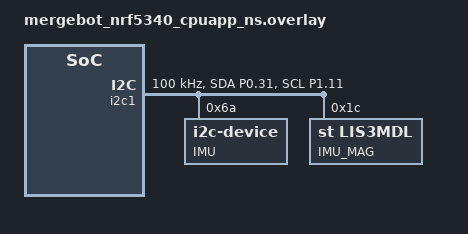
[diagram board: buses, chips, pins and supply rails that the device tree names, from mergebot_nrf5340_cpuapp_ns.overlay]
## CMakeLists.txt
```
cmake_minimum_required(VERSION 3.20.0)
find_package(Zephyr REQUIRED HINTS $ENV{ZEPHYR_BASE})

project(assignment_ses)

target_include_directories(app PRIVATE inc)
target_sources(app PRIVATE src/main.c src/robot.c src/robot/sensors/tap_detect.c 
    src/robot/sensors/lsm6dsox.c src/robot/power.c src/robot/sensors/lis3mdl.c 
    src/robot/calibration.c src/robot/settings.c src/robot/sensors/crash_detect.c src/robot/sensors/int1_gpio.c)
```

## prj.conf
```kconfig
# Enable serial driver
CONFIG_SERIAL=y

# Enable console drivers
CONFIG_CONSOLE=y
CONFIG_UART_CONSOLE=y

# Enable logging
CONFIG_LOG=y

# Enable run-time assertions
CONFIG_ASSERT=y

# Enable I2C
CONFIG_I2C=y
CONFIG_CBPRINTF_FP_SUPPORT=y
CONFIG_CBPRINTF_FULL_INTEGRAL=y

CONFIG_FLASH=y
CONFIG_FLASH_MAP=y
CONFIG_NVS=y
CONFIG_SETTINGS=y
CONFIG_SETTINGS_NVS=y
```

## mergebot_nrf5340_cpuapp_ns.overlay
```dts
// To get started, press Ctrl+Space to bring up the completion menu and view the available nodes.

// You can also use the buttons in the sidebar to perform actions on nodes.
// Actions currently available include:

// * Enabling / disabling the node
// * Adding the bus to a bus
// * Removing the node
// * Connecting ADC channels

// For more help, browse the DeviceTree documentation at https://docs.zephyrproject.org/latest/guides/dts/index.html
// You can also visit the nRF DeviceTree extension documentation at https://docs.nordicsemi.com/bundle/nrf-connect-vscode/page/guides/ncs_configure_app.html#devicetree-support-in-the-extension


&i2c1 {
    status = "okay";
    pinctrl-0 = <&i2c1_default>;
    pinctrl-names = "default";
    
    lsm6dsox: lsm6dsox@6a {
        compatible = "i2c-device";
        reg = <0x6a>;
        label = "IMU";
    };

    lis3mdl: lis3mdl@1c {
        compatible = "st,lis3mdl";
        reg = <0x1c>;
        label = "IMU_MAG";
    };
    
    clock-frequency = <I2C_BITRATE_STANDARD>;
};

&pinctrl {
    i2c1_default: i2c1_default {
        group1 {
            psels = <NRF_PSEL(TWIM_SDA, 0, 31)>,
                    <NRF_PSEL(TWIM_SCL, 1, 11)>;
            bias-pull-up;
        };
    };
};

&gpio0 {
    status = "okay";
};

/ {
    aliases {
        int1-pin = &int1_gpio_node;
        lis3mdl = &lis3mdl;
    };
    
    int1_gpio_node: int1-gpio-node {
        compatible = "user-keys";
        imu_int1_pin {
            gpios = <&gpio0 12 (GPIO_ACTIVE_HIGH | GPIO_PULL_DOWN)>;
            label = "IMU INT1 Pin";
        };
    };
};
```

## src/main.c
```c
#include <math.h>
#include <stdbool.h>
#include <mergebot.h>
#include <zephyr/kernel.h>
#include <zephyr/logging/log.h>
#include <zephyr/drivers/led.h>


#include "mb_power.h"
#include "robot.h"
#include "robot/calibration.h"
#include "robot/power.h"
#include "robot/sensors/lis3mdl.h"
#include "robot/sensors/lsm6dsox.h"
#include "robot/sensors/tap_detect.h"
#include "robot/sensors/crash_detect.h"
#include "ses_assignment.h"

static const struct device *pwm_leds_dev = DEVICE_DT_GET(DT_NODELABEL(pwm_leds_controller));

#define LED_IDX_RED 0
#define LED_IDX_GRN 1

LOG_MODULE_REGISTER(main, LOG_LEVEL_INF);
static K_SEM_DEFINE(tap_sem, 0, 1);

int init_hardware(void) {
    LOG_INF("Initializing hardware...");
    TRY_ERR(mb_error_t, mb_measure_init(0));
    TRY_ERR(mb_error_t, mb_drive_init(4));
    TRY_ERR(mb_error_t, mb_power_init());
    TRY_ERR(mb_error_t, mb_led_init());

    if (!device_is_ready(pwm_leds_dev)) {
        LOG_ERR("PWM LED controller not ready. Check DeviceTree overlay.");
        return -ENODEV;
    }

    LOG_INF("Hardware ready");
    return 0;
}

static void drive_callback(int16_t left, int16_t right) { mb_drive(left, right); }

static void led_indicator_callback(int index) {
    for (int j = 0; j <= index; j++) {
        mb_led_toggle(MB_LED_G);
        k_sleep(K_MSEC(200));
        mb_led_toggle(MB_LED_G);
        k_sleep(K_MSEC(200));
    }
}

static void update_battery_led(void) {
    uint8_t percentage = power_percentage();
    //LOG_INF("Battery level = %u%%", percentage);

    led_set_brightness(pwm_leds_dev, LED_IDX_GRN, percentage);
    led_set_brightness(pwm_leds_dev, LED_IDX_RED, 100 - percentage);
}

static void test_turn(void) {
    robot_turn(45);
    k_sleep(K_MSEC(400));
    robot_turn(-45);
    k_sleep(K_MSEC(400));
    robot_turn(90);
    k_sleep(K_MSEC(400));
    robot_turn(-90);
    k_sleep(K_MSEC(400));
    robot_turn(135);
    k_sleep(K_MSEC(400));
    robot_turn(-135);
    k_sleep(K_MSEC(400));
    robot_turn(180);
    k_sleep(K_MSEC(400));
    robot_turn(-180);
}

static void test_move(void) {
    robot_move(100);
    k_sleep(K_MSEC(3000));
    robot_move(-100);
    k_sleep(K_MSEC(3000));
    robot_move(500);
    k_sleep(K_MSEC(3000));
    robot_move(-500);
    k_sleep(K_MSEC(3000));
    robot_move(1000);
    k_sleep(K_MSEC(3000));
    robot_move(-1000);
    k_sleep(K_MSEC(3000));
    robot_move(2000);
    k_sleep(K_MSEC(3000));
    robot_move(-2000);
    k_sleep(K_MSEC(3000));
}

static void test_mag(void) {
    double x_raw_d, y_raw_d;
    lis3mdl_data_t mag_data;
    TRY_ERR(int, lis3mdl_read_mag(&mag_data));

    int32_t x_raw = mag_data.x;
    int32_t y_raw = mag_data.y;

    x_raw_d = (double)x_raw;
    y_raw_d = (double)y_raw;

    double x = x_raw_d;
    double y = y_raw_d;

    double x1 = x_raw_d - (double)g_mag_offset_x;
    double y1 = y_raw_d - (double)g_mag_offset_y;

    double x2 = (x_raw_d - (double)g_mag_offset_x) * (double)g_mag_scale_x;
    double y2 = (y_raw_d - (double)g_mag_offset_y) * (double)g_mag_scale_y;

    LOG_INF("(raw x:%.3f y:%.3f), (off x1:%.3f y1:%.3f), (corr x2:%.3f y2:%.3f)",
            x, y, x1, y1, x2, y2);

    double heading  = atan2(x, y) * 180.0 / M_PI;
    double heading1 = atan2(x1, y1) * 180.0 / M_PI;
    double heading2 = atan2(x2, y2) * 180.0 / M_PI;

    if (heading < 0)  heading += 360.0;
    if (heading1 < 0) heading1 += 360.0;
    if (heading2 < 0) heading2 += 360.0;

    LOG_INF("(h:%.3f), (h1:%.3f), (h2:%.3f), (h3: %.3f)", heading, heading1, heading2, robot_calculate_heading());

    k_sleep(K_MSEC(500));
}

static void tap_callback(void) {
    k_sem_give(&tap_sem);
}

static void wait_for_double_tap(void) {
    robot_set_imu_mode(IMU_MODE_TAP);
    tap_detect_register_callback(tap_callback);
    LOG_INF("Waiting for double tap...");
    
    k_sem_reset(&tap_sem);

    while (k_sem_take(&tap_sem, K_MSEC(100)) != 0) {
        update_battery_led();
    }    

    led_set_brightness(pwm_leds_dev, LED_IDX_RED, 0);
    led_set_brightness(pwm_leds_dev, LED_IDX_GRN, 0);

    // This reconfigures the pins back to GPIO Output mode so 
    // robot_set_status() works correctly.
    mb_led_init();

    robot_set_imu_mode(IMU_MODE_OFF);
    LOG_INF("Double tap detected.");
}

static void follow_predefined_path(float scale) {
    robot_move(2000 * scale);
    robot_turn(90); // 90 degrees left
    robot_move(2000 * scale);
    robot_turn(-90);
    robot_move(2000 * scale);
    robot_turn(-90);
    robot_move(2000 * scale);
    robot_turn(180);
    robot_move(-2000 * scale);
    robot_turn(90);
    robot_move(4000 * scale);        
}

static void first_assign(void) {
    robot_turn_to_north();
    robot_move(1000);
}

static void third_assign(void) {
    robot_move(10000);
}

int main(void) {
    __ASSERT(init_hardware() == 0, "Failed to initialize robot");
    mb_out_bumper_off();
    mb_leds_off();
    robot_init();

    if (calibration_needed()) {
        LOG_INF("Calibration required bro, double tap to start.");
        wait_for_double_tap();

        calibration_sequence(TURNSPEED, drive_callback, led_indicator_callback);
    }

    for (;;) {
        update_battery_led();

        wait_for_double_tap();

        k_sleep(K_MSEC(200));

        robot_set_imu_mode(IMU_MODE_CRASH);
        robot_set_status(STATUS_OK);

        robot_turn_to_north();
        k_sleep(K_MSEC(200));
        robot_move(500);

        wait_for_double_tap();
        k_sleep(K_MSEC(200));
        robot_set_imu_mode(IMU_MODE_CRASH);
        robot_set_status(STATUS_OK);
        for (int i = 0; i < 6; i++) {
            robot_move(400);
            k_sleep(K_MSEC(600));
            robot_turn(60);
            k_sleep(K_MSEC(600));
        }

        wait_for_double_tap();
        k_sleep(K_MSEC(200));

        robot_set_imu_mode(IMU_MODE_CRASH);
        robot_set_status(STATUS_OK);
        int32_t dist = 1000000;
        robot_move_with_factor(dist, (dist * 0.995));
    }

    UNREACHABLE();
    return 0;
}
```

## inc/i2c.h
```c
#ifndef I2C
#define I2C_H

#include <stdint.h>
#include <stdbool.h>

int lsm6dsox_write_reg(uint8_t reg, uint8_t value);
int lsm6dsox_read_reg(uint8_t reg, uint8_t *value);
int check_i2c_bus();

#endif
```

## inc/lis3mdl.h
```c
/**
 * LIS3MDL magnetometer driver interface
 */

#ifndef LIS3MDL_H
#define LIS3MDL_H

#include <stdint.h>
#include <zephyr/devicetree.h>
#define LIS3MDL_NODE DT_NODELABEL(lis3mdl)

#define LIS3MDL_WHO_AM_I        0x0F
#define LIS3MDL_CTRL_REG1       0x20
#define LIS3MDL_CTRL_REG2       0x21
#define LIS3MDL_CTRL_REG3       0x22
#define LIS3MDL_CTRL_REG4       0x23
#define LIS3MDL_CTRL_REG5       0x24
#define LIS3MDL_STATUS_REG      0x27
#define LIS3MDL_OUT_X_L         0x28
#define LIS3MDL_OUT_X_H         0x29
#define LIS3MDL_OUT_Y_L         0x2A
#define LIS3MDL_OUT_Y_H         0x2B
#define LIS3MDL_OUT_Z_L         0x2C
#define LIS3MDL_OUT_Z_H         0x2D
#define LIS3MDL_TEMP_OUT_L      0x2E
#define LIS3MDL_TEMP_OUT_H      0x2F

#define LIS3MDL_WHO_AM_I_VALUE 0x3D

#define LIS3MDL_TEMP_EN         (1 << 7)
#define LIS3MDL_OM_HIGH_PERF    (0x03 << 5) // High performance XY mode
#define LIS3MDL_ODR_80HZ        (0x07 << 2) // 80 Hz output data rate

#define LIS3MDL_FS_4_GAUSS      (0x00 << 5)  // 4 gauss full scale 
#define LIS3MDL_FS_8_GAUSS      (0x01 << 5)  // 8 gauss full scale
#define LIS3MDL_FS_12_GAUSS     (0x02 << 5)  // 12 gauss full scale
#define LIS3MDL_FS_16_GAUSS     (0x03 << 5)  // 16 gauss full scale

#define LIS3MDL_MD_CONTINUOUS   0x00         // continuous conversion mode
#define LIS3MDL_MD_SINGLE       0x01         // Single conversion mode 
#define LIS3MDL_MD_POWER_DOWN   0x03         // powerdown mode

#define LIS3MDL_OMZ_HIGH_PERF   (0x03 << 2)  // High performance Z mode 
#define LIS3MDL_BLE_LSB         (0 << 1)     // little endian 

#define LIS3MDL_BDU_CONTINUOUS  (0 << 6)     // Continuous update 
#define LIS3MDL_BDU_BLOCKED     (1 << 6)     // block data update

#define LIS3MDL_SENSITIVITY_4G  6842         // LSB/gauss at 4 gauss 
#define LIS3MDL_SENSITIVITY_8G  3421         // LSB/gauss at 8 gauss 
#define LIS3MDL_SENSITIVITY_12G 2281         // LSB/gauss at 12 gauss 
#define LIS3MDL_SENSITIVITY_16G 1711         // LSB/gauss at 16 gauss 

typedef struct {
    int16_t x;
    int16_t y;
    int16_t z;
} lis3mdl_data_t;

int lis3mdl_init(void);
int lis3mdl_read_mag(lis3mdl_data_t *data);
int lis3mdl_verify_device(void);
int lis3mdl_configure(void);

int lis3mdl_write_reg(uint8_t reg, uint8_t value);
int lis3mdl_read_multi_reg(uint8_t reg, uint8_t *data, size_t len);

#endif
```

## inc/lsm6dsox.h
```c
#ifndef LSM6DSOX_H
#define LSM6DSOX_H

#include <stdint.h>

#define LSM6DSOX_ADDR           0x6A
#define LSM6DSOX_WHO_AM_I       0x0F
#define LSM6DSOX_WHO_AM_I_VALUE 0x6C

#define LSM6DSOX_CTRL1_XL       0x10
#define LSM6DSOX_CTRL2_G        0x11
#define LSM6DSOX_CTRL3_C        0x12
#define LSM6DSOX_CTRL4_C        0x13
#define LSM6DSOX_TAP_CFG0       0x56
#define LSM6DSOX_TAP_CFG1       0x57
#define LSM6DSOX_TAP_CFG2       0x58
#define LSM6DSOX_TAP_THS_6D     0x59
#define LSM6DSOX_INT_DUR2       0x5A
#define LSM6DSOX_WAKE_UP_THS    0x5B
#define LSM6DSOX_MD1_CFG        0x5E
#define LSM6DSOX_ALL_INT_SRC    0x1D
#define LSM6DSOX_TAP_SRC        0x1C
#define LSM6DSOX_OUTX_L_G       0x22

// CTRL1_XL
#define ODR_XL_416Hz            (0x06 << 4)
#define FS_XL_2g                (0x00 << 2)

// TAP_CFG0
#define TAP_LIR                 (1 << 0)
#define TAP_X_EN                (1 << 3)
#define TAP_Y_EN                (1 << 2)
#define TAP_Z_EN                (1 << 1)

// TAP_CFG1 & TAP_THS_6D
#define TAP_THRESHOLD_X(val)    (val & 0x1F)
#define TAP_THRESHOLD_Z(val)    (val & 0x1F)

// TAP_CFG2
#define TAP_INTERRUPTS_ENABLE   (1 << 7)

// INT_DUR2
// Dur: Max time between two taps
// Quiet: Time to ignore inputs after a tap (Keep this short!)
// Shock: Max duration of the impact
#define TAP_DURATION(val)       ((val & 0x0F) << 4)
#define TAP_QUIET(val)          ((val & 0x03) << 2)
#define TAP_SHOCK(val)          (val & 0x03)

// MD1_CFG
#define INT1_DOUBLE_TAP         (1 << 3)
#define INT1_SINGLE_TAP         (1 << 6)

// TAP SRC Flags
#define TAP_SRC_DOUBLE_TAP      (1 << 4)
#define TAP_SRC_SINGLE_TAP      (1 << 5)

// WAKE_UP_THS
#define WAKE_UP_THS_SINGLE_DOUBLE_TAP (1 << 7)

 // gyro values

#define GYRO_CFG_500DPS_416HZ 0x64 // 0b0110_0100
#define GYRO_CFG_250DPS_416HZ 0x60 // 0b0110_0000 (if you want more precision)
#define GYRO_CFG_1000DPS_416HZ 0x68 // 0b0110_1000 (if turns are very fast) 

typedef struct {
    int16_t x;
    int16_t y;
    int16_t z;
} lsm6dsox_gyro_data_t;
void lsm6dsox_clear_interrupts(void); 

int lsm6dsox_init(void);
int lsm6dsox_verify_device(void);
int lsm6dsox_read_reg(uint8_t reg, uint8_t *value);
float lsm6dsox_gyro_to_dps(int16_t raw_value);
int lsm6dsox_read_gyro(lsm6dsox_gyro_data_t *data);

void lsm6dsox_debug_tap_config(void);

#endif
```

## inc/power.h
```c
#ifndef POWER_H
#define POWER_H

#include <stdint.h>

typedef enum {
    POWER_HIGH,
    POWER_MEDIUM,
    POWER_LOW
} power_level_t;

power_level_t power_get_level(void);
void power_update_indicator(void);

#endif
```

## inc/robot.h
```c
#ifndef ROBOT_H
#define ROBOT_H

#include "ses_assignment.h"
#include <zephyr/kernel.h>
#include <stdint.h>

typedef enum {
    IMU_MODE_OFF,
    IMU_MODE_TAP,
    IMU_MODE_CRASH,
    IMU_MODE_MOTION_VERIFY 
} robot_imu_mode_t;

typedef enum {
    STATUS_OK,
    STATUS_FAST,
    STATUS_SLOW,
    STATUS_CRASH,
} robot_status_t;

int robot_init(void);
void robot_set_imu_mode(robot_imu_mode_t new_mode);

void robot_move(int32_t distance_mm);
void robot_turn(int32_t angle);
void robot_turn_to_north(void);
float robot_calculate_heading(void);

void robot_set_status(robot_status_t code);

#endif
```

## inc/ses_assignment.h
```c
#ifndef SES_ASSIGNMENT_H
#define SES_ASSIGNMENT_H

#include <math.h>
#include <stdbool.h>
#include <stdint.h>
#include <zephyr/kernel.h>
#include <zephyr/logging/log.h>

/* Constants */
#define CALIBRATION_RESET false
#define TAP_TIMEOUT_MS 100

#define TURNSPEED 60
#define MIN_SPEED 30

#define TICKS_PER_REV 705
#define WHEEL_DIAMETER_MM 42

#define SPEED_LEFT 100////100
#define SPEED_RIGHT 100//104

#define KP_ALIGN 1.5f
#define ALIGN_TOLERANCE 5.0f

#define SPEED (SPEED_LEFT + SPEED_RIGHT) / 2
#define TURN_TIMEOUT_MS 30000
#define ROBOT_HEADING_NORTH 0.0f

#define VCAP_MAX 3000
#define VCAP_MIN 600
#define THRESHOLD_HIGH 66
#define THRESHOLD_MED 33

/* Macros */
#ifndef M_PI
#define M_PI 3.14159265358979323846
#endif

#define TRY(test)                                                                                  \
    do {                                                                                           \
        if ((test)) {                                                                              \
            LOG_ERR("%s failed at %s:%d", #test, __FILE__, __LINE__);                              \
            return;                                                                                \
        }                                                                                          \
    } while (0)

#define TRY_ERR(err_t, test)                                                                       \
    do {                                                                                           \
        err_t err = (test);                                                                        \
        if (err){ \
            LOG_ERR("%s failed at %s:%d: %d", #test, __FILE__, __LINE__, err);                     \
            return err;                                                                            \
        }                                                                                 \
    } while (0)

#define CONFIGURE_REGS(write_func, ...)                                                            \
    struct {                                                                                       \
        uint8_t reg;                                                                               \
        uint8_t val;                                                                               \
    } config[] = {__VA_ARGS__};                                                                    \
    for (size_t i = 0; i < ARRAY_SIZE(config); i++) {                                              \
        TRY_ERR(int, write_func(config[i].reg, config[i].val));                                    \
    }

#define INIT_CHECK(func)                                                                           \
    do {                                                                                           \
        int _ret = (func);                                                                         \
        if (_ret != 0 && _ret != 0 /* MB_SUCCESS */) {                                             \
            LOG_ERR("%s failed: %d", #func, _ret);                                                 \
            return _ret;                                                                           \
        }                                                                                          \
    } while (0)

#define UNREACHABLE()                                                                              \
    do {                                                                                           \
        __ASSERT(false, "Unreachable code at %s:%d", __FILE__, __LINE__);                          \
    } while (0)

#define DEG_TO_RAD(deg) ((deg) * (M_PI / 180.0f))
#define RAD_TO_DEG(rad) ((rad) * (180.0 / M_PI))

#endif
```

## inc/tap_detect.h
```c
#ifndef TAP_DETECT_H
#define TAP_DETECT_H

#include <zephyr/kernel.h>
#include <stdbool.h>

#define TAP_SRC_SINGLE_TAP_MASK  (1 << 5)
#define TAP_SRC_DOUBLE_TAP_MASK  (1 << 4)

typedef enum {
    TAP_NONE,
    TAP_SINGLE,
    TAP_DOUBLE
} tap_event_t;

int tap_detect_init(void);
bool tap_detect_wait(k_timeout_t timeout);
void tap_detect_ignore(bool ignore);
void tap_detect_poll_test(void);

#endif
```

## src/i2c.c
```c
#include <zephyr/drivers/i2c.h>
#include <zephyr/devicetree.h>
#include <zephyr/logging/log.h>


LOG_MODULE_REGISTER(i2c_helper, LOG_LEVEL_DBG);

#define I2C1_NODE DT_NODELABEL(lsm6dsox)
static const struct i2c_dt_spec dev_i2c = I2C_DT_SPEC_GET(I2C1_NODE);

int lsm6dsox_write_reg(uint8_t reg, uint8_t value) // over i2c
{
    uint8_t buf[2] = { reg, value };
    return i2c_write_dt(&dev_i2c, buf, sizeof(buf));
}

int lsm6dsox_read_reg(uint8_t reg, uint8_t *value) // over i2c
{
    return i2c_write_read_dt(&dev_i2c, &reg, 1, value, 1);
}

int check_i2c_bus(){
    if (!device_is_ready(dev_i2c.bus)){
        LOG_ERR("I2C bus %s not ready", dev_i2c.bus ? dev_i2c.bus->name : "unknown");
        return -ENODEV;
    }
    return 0;
}
```

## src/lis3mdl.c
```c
#include "lis3mdl.h"
#include <errno.h>
#include "ses_assignment.h"
#include <zephyr/devicetree.h>
#include <zephyr/drivers/i2c.h>
#include <zephyr/logging/log.h>
#include <zephyr/sys/util.h>

LOG_MODULE_REGISTER(lis3mdl, LOG_LEVEL_DBG);

static const struct i2c_dt_spec dev = I2C_DT_SPEC_GET(LIS3MDL_NODE);

int lis3mdl_write_reg(uint8_t reg, uint8_t value) {
    if (!device_is_ready(dev.bus)) {
        return -ENODEV;
    }
    
    uint8_t buf[2] = {reg, value};
    return i2c_write_dt(&dev, buf, sizeof(buf));
}

int lis3mdl_read_multi_reg(uint8_t reg, uint8_t *data, size_t len) {
    if (!data || len == 0) {
        return -EINVAL;
    }

    if (!device_is_ready(dev.bus)) {
        return -ENODEV;
    }
    // Set MSB for auto increment read (0x80)
    uint8_t reg_addr = reg | BIT(7); 
    return i2c_write_read_dt(&dev, &reg_addr, 1, data, len);
}

int lis3mdl_verify_device(void) {
    uint8_t who_am_i;
    TRY_ERR(int, i2c_write_read_dt(&dev, (uint8_t[]){LIS3MDL_WHO_AM_I}, 1, &who_am_i, 1));

    if (who_am_i != LIS3MDL_WHO_AM_I_VALUE) {
        LOG_ERR("LIS3MDL dev id not match: 0x%02X", who_am_i);
        return -ENODEV;
    }

    LOG_INF("LIS3MDL dev verified: 0x%02X", who_am_i);
    return 0;
}

int lis3mdl_configure(void) {
    CONFIGURE_REGS(lis3mdl_write_reg,
        {LIS3MDL_CTRL_REG1, LIS3MDL_OM_HIGH_PERF | LIS3MDL_ODR_80HZ},
        {LIS3MDL_CTRL_REG2, LIS3MDL_FS_4_GAUSS},
        {LIS3MDL_CTRL_REG3, LIS3MDL_MD_CONTINUOUS},
        {LIS3MDL_CTRL_REG4, LIS3MDL_OMZ_HIGH_PERF | LIS3MDL_BLE_LSB},
        {LIS3MDL_CTRL_REG5, LIS3MDL_BDU_CONTINUOUS}
    )

    LOG_INF("LIS3MDL configured: 80Hz, ±4G, continuous");
    return 0;
}

int lis3mdl_init(void) {
    if (!device_is_ready(dev.bus)) {
        LOG_ERR("I2C bus not ready");
        return -ENODEV;
    }

    TRY_ERR(int, lis3mdl_verify_device());
    TRY_ERR(int, lis3mdl_configure());
    
    LOG_INF("LIS3MDL configured for continuous mode");
    return 0;
}

int lis3mdl_read_mag(lis3mdl_data_t *data) {
    uint8_t buf[6];
    TRY_ERR(int, lis3mdl_read_multi_reg(LIS3MDL_OUT_X_L, buf, sizeof(buf)));
    
    // convert 6 bytes (L, H, L, H, L, H) into three 16b integers (little endian)
    data->x = (int16_t)(buf[0] | (buf[1] << 8));
    data->y = (int16_t)(buf[2] | (buf[3] << 8));
    data->z = (int16_t)(buf[4] | (buf[5] << 8));

    LOG_DBG("Mag X:%d, Y:%d, Z:%d", data->x, data->y, data->z);
    return 0;
}
```

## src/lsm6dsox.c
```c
#include "lsm6dsox.h"
#include <zephyr/devicetree.h>
#include <zephyr/drivers/i2c.h>
#include "ses_assignment.h"
#include <zephyr/logging/log.h>
#include <zephyr/sys/util.h>

LOG_MODULE_REGISTER(lsm6dsox, LOG_LEVEL_DBG);

#define LSM6DSOX_NODE DT_NODELABEL(lsm6dsox)
static const struct i2c_dt_spec dev = I2C_DT_SPEC_GET(LSM6DSOX_NODE);

int lsm6dsox_write_reg(uint8_t reg, uint8_t value) {
    if (!device_is_ready(dev.bus)) {
        return -ENODEV;
    }

    uint8_t buf[2] = {reg, value};
    return i2c_write_dt(&dev, buf, sizeof(buf));
}

int lsm6dsox_read_reg(uint8_t reg, uint8_t *value) {
    if (!device_is_ready(dev.bus)) {
        return -ENODEV;
    }

    return i2c_write_read_dt(&dev, &reg, 1, value, 1);
}

int lsm6dsox_verify_device(void) {
    uint8_t who_am_i;
    TRY_ERR(int, lsm6dsox_read_reg(LSM6DSOX_WHO_AM_I, &who_am_i));

    if (who_am_i != LSM6DSOX_WHO_AM_I_VALUE) {
        LOG_ERR("dev id not match: 0x%02X", who_am_i);
        return -ENODEV;
    }

    LOG_INF("dev verified: 0x%02X", who_am_i);
    return 0;
}

static int lsm6dsox_configure_tap(void) {
    LOG_INF("Configuring tap detection...");
    
    CONFIGURE_REGS(lsm6dsox_write_reg,
        // Setup ODR and Range
        {LSM6DSOX_CTRL1_XL, ODR_XL_416Hz | FS_XL_2g},
        
        // Enable Block Data Update
        {LSM6DSOX_CTRL3_C, 0x44}, // BDU | IF_INC
        
        // Enable INT1 output (some LSM6DSOX require this)
        {LSM6DSOX_CTRL4_C, 0x00},
        
        // Tap Configuration - ONLY Z-axis for cleaner detection
        // TAP_LIR keeps INT1 high until we read TAP_SRC
        {LSM6DSOX_TAP_CFG0, TAP_Z_EN | TAP_LIR},
        
        // X Threshold (not used since X is disabled, but set anyway)
        {LSM6DSOX_TAP_CFG1, TAP_THRESHOLD_X(0x08)}, 
        
        // Enable Interrupts in hardware engine
        {LSM6DSOX_TAP_CFG2, TAP_INTERRUPTS_ENABLE},
        
        // Z Threshold - Balanced sensitivity
        {LSM6DSOX_TAP_THS_6D, TAP_THRESHOLD_Z(0x08)}, 

        // Single/double-tap selection and wake-up configuration (R/W)
        {LSM6DSOX_WAKE_UP_THS, WAKE_UP_THS_SINGLE_DOUBLE_TAP},
        
        // 8. CRITICAL TIMING for double-tap recognition:
        // SHOCK: 0x01 = ~20ms (tap must END quickly so sensor knows it's done)
        // QUIET: 0x01 = ~20ms (brief pause after tap before listening again)
        // DUR:   0x06 = ~300ms (maximum time between the two taps)
        //
        // Problem with your settings: SHOCK=0x03 is TOO LONG
        // The sensor thinks the tap never ends, so it can't detect a "second" tap
        {LSM6DSOX_INT_DUR2, TAP_DURATION(0x08) | TAP_QUIET(0x01) | TAP_SHOCK(0x02)},
        
        // 9. Route ONLY Double Tap to INT1
        {LSM6DSOX_MD1_CFG, INT1_DOUBLE_TAP})
    
    LOG_INF("Tap detection configured successfully");
    LOG_INF("  SHOCK=0x01 (~20ms), QUIET=0x01 (~20ms), DUR=0x06 (~300ms)");
    
    return 0;
}

void lsm6dsox_debug_tap_config(void) {
    uint8_t reg_val;
    
    LOG_INF("=== LSM6DSOX Tap Configuration Debug ===");
    
    // Read back all tap-related registers
    lsm6dsox_read_reg(LSM6DSOX_CTRL1_XL, &reg_val);
    LOG_INF("CTRL1_XL (0x10):    0x%02X", reg_val);
    
    lsm6dsox_read_reg(LSM6DSOX_CTRL3_C, &reg_val);
    LOG_INF("CTRL3_C (0x12):     0x%02X", reg_val);
    
    lsm6dsox_read_reg(LSM6DSOX_TAP_CFG0, &reg_val);
    LOG_INF("TAP_CFG0 (0x56):    0x%02X (Z_EN=%d, Y_EN=%d, X_EN=%d, LIR=%d)", 
            reg_val, 
            !!(reg_val & (1<<1)),
            !!(reg_val & (1<<2)),
            !!(reg_val & (1<<3)),
            !!(reg_val & (1<<0)));
    
    lsm6dsox_read_reg(LSM6DSOX_TAP_CFG1, &reg_val);
    LOG_INF("TAP_CFG1 (0x57):    0x%02X (X_THS=0x%02X)", reg_val, reg_val & 0x1F);
    
    lsm6dsox_read_reg(LSM6DSOX_TAP_CFG2, &reg_val);
    LOG_INF("TAP_CFG2 (0x58):    0x%02X (INTERRUPTS_EN=%d)", reg_val, !!(reg_val & 0x80));
    
    lsm6dsox_read_reg(LSM6DSOX_TAP_THS_6D, &reg_val);
    LOG_INF("TAP_THS_6D (0x59):  0x%02X (Z_THS=0x%02X)", reg_val, reg_val & 0x1F);
    
    lsm6dsox_read_reg(LSM6DSOX_INT_DUR2, &reg_val);
    LOG_INF("INT_DUR2 (0x5A):    0x%02X (DUR=%d, QUIET=%d, SHOCK=%d)", 
            reg_val,
            (reg_val >> 4) & 0x0F,
            (reg_val >> 2) & 0x03,
            reg_val & 0x03);
    
    lsm6dsox_read_reg(LSM6DSOX_MD1_CFG, &reg_val);
    LOG_INF("MD1_CFG (0x5E):     0x%02X (DOUBLE_TAP=%d, SINGLE_TAP=%d)", 
            reg_val,
            !!(reg_val & (1<<3)),
            !!(reg_val & (1<<6)));
    
    // Check current interrupt status
    lsm6dsox_read_reg(LSM6DSOX_TAP_SRC, &reg_val);
    LOG_INF("TAP_SRC (0x1C):     0x%02X", reg_val);
    
    lsm6dsox_read_reg(LSM6DSOX_ALL_INT_SRC, &reg_val);
    LOG_INF("ALL_INT_SRC (0x1D): 0x%02X", reg_val);
    
    LOG_INF("========================================");
}


int lsm6dsox_configure_gyro(void) {
    CONFIGURE_REGS(lsm6dsox_write_reg, 
        {LSM6DSOX_CTRL2_G, GYRO_CFG_500DPS_416HZ})

    LOG_INF("Gyroscope configured");
    return 0;
}


int lsm6dsox_read_gyro(lsm6dsox_gyro_data_t *data) {
    if (!device_is_ready(dev.bus)) {
        return -ENODEV;
    }
    
    uint8_t buf[6];
    uint8_t reg = LSM6DSOX_OUTX_L_G;
    
    TRY_ERR(int, i2c_write_read_dt(&dev, &reg, 1, buf, 6));
    
    data->x = (int16_t)(buf[1] << 8 | buf[0]);
    data->y = (int16_t)(buf[3] << 8 | buf[2]);
    data->z = (int16_t)(buf[5] << 8 | buf[4]);
    
    return 0;
}

float lsm6dsox_gyro_to_dps(int16_t raw_value) {
    // For ±500 dps range: sensitivity = 17.50 mdps/LSB
    // For ±250 dps range: sensitivity = 8.75 mdps/LSB
    // For ±1000 dps range: sensitivity = 35.0 mdps/LSB
    const float sensitivity = 17.50f;  // mdps/LSB for ±500 dps
    return (float)raw_value * sensitivity / 1000.0f;  // Convert to dps
}

void lsm6dsox_clear_interrupts(void) {
    uint8_t dummy;
    lsm6dsox_read_reg(LSM6DSOX_ALL_INT_SRC, &dummy);
    lsm6dsox_read_reg(LSM6DSOX_TAP_SRC, &dummy);
    LOG_DBG("Interrupts cleared on boot");
}


int lsm6dsox_init(void) {
    if (!device_is_ready(dev.bus)) {
        return -ENODEV;
    }

    TRY_ERR(int, lsm6dsox_verify_device());
    TRY_ERR(int, lsm6dsox_configure_tap());
    TRY_ERR(int, lsm6dsox_configure_gyro());

    lsm6dsox_clear_interrupts();

    LOG_INF("tap detection configured");
    return 0;
}
```

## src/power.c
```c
#include "power.h"
#include <stdbool.h>
#include <mergebot.h>

#define VCAP_MAX 3000
#define VCAP_MIN 600
#define THRESHOLD_HIGH 66
#define THRESHOLD_MED 33

static power_level_t last_level = POWER_HIGH + 1;

static int vcap_to_percent(int vcap) {
    if (vcap >= VCAP_MAX) {
        return 100;
    }
    if (vcap <= VCAP_MIN) {
        return 0;
    }
    return (100 * (vcap - VCAP_MIN)) / (VCAP_MAX - VCAP_MIN);
}

static power_level_t percent_to_level(int percent) {
    if (percent > THRESHOLD_HIGH) {
        return POWER_HIGH;
    }
    if (percent > THRESHOLD_MED) {
        return POWER_MEDIUM;
    }
    return POWER_LOW;
}

power_level_t power_get_level(void) {
    int vcap = mb_measure_vcap();
    int percent = vcap_to_percent(vcap);
    return percent_to_level(percent);
}

void power_update_indicator(void) {
    power_level_t level = power_get_level();

    if (level == last_level) {
        return;
    }

    mb_leds_off();

    switch (level) {
    case POWER_HIGH:
        mb_led_toggle(MB_LED_G);
        break;
    case POWER_MEDIUM:
        mb_led_toggle(MB_LED_R);
        mb_led_toggle(MB_LED_G);
        break;
    case POWER_LOW:
        mb_led_toggle(MB_LED_R);
        break;
    }

    last_level = level;
}
```

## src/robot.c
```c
#include "robot.h"
#include "robot/calibration.h"
#include "robot/sensors/crash_detect.h"
#include "robot/sensors/int1_gpio.h"
#include "robot/sensors/lis3mdl.h"
#include "robot/sensors/lsm6dsox.h"
#include "robot/sensors/motion_verify.h"
#include "robot/sensors/tap_detect.h"
#include "ses_assignment.h"
#include "mergebot.h"
#include <math.h>
#include <stdlib.h>
#include <zephyr/kernel.h>
#include <zephyr/logging/log.h>

LOG_MODULE_REGISTER(robot, LOG_LEVEL_DBG);

#define INT1_GPIO_NODE DT_NODELABEL(gpio0)
#define INT1_PIN 12

struct gpio_int_handle int1_handle;

static const struct gpio_dt_spec int1_gpio = {
    .port = DEVICE_DT_GET(INT1_GPIO_NODE),
    .pin = INT1_PIN,
    .dt_flags = GPIO_ACTIVE_HIGH | GPIO_PULL_DOWN
};

static robot_imu_mode_t current_mode = IMU_MODE_OFF;
static robot_status_t current_robot_status = STATUS_OK;
static K_SEM_DEFINE(crash_sem, 0, 1);
static volatile bool was_moving_forward = false;

static void default_gpio_callback(gpio_pin_t pin, void *user_data) {
    ARG_UNUSED(pin);
    ARG_UNUSED(user_data);
}

static void crash_handler(bool was_forward) {
    was_moving_forward = was_forward;
    k_sem_give(&crash_sem);
}

static void crash_recovery_routine(void) {
    LOG_WRN("CRASH DETECTED");
    
    robot_set_status(STATUS_CRASH);
    
    mb_drive(0, 0);
    
    k_sleep(K_MSEC(250));

    int16_t backup_speed = SPEED / 2;
    mb_drive(was_moving_forward ? -backup_speed : backup_speed, 
             was_moving_forward ? -backup_speed : backup_speed);
    k_sleep(K_MSEC(1000));
    
    mb_drive(0, 0);
    
    LOG_ERR("HALTED waiting for reboot");
    while (1) {
        k_sleep(K_FOREVER);
    }
}

void robot_set_imu_mode(robot_imu_mode_t new_mode) {
    if (current_mode == new_mode) return;

    switch (current_mode) {
        case IMU_MODE_TAP:
            tap_detect_deinit();
            break;
        case IMU_MODE_CRASH:
            crash_detect_deinit();
            motion_verify_deinit();
            break;
        case IMU_MODE_MOTION_VERIFY:
            motion_verify_deinit();
            break;
        default:
            break;
    }

    k_sleep(K_MSEC(10));

    // Initialize new mode
    switch (new_mode) {
        case IMU_MODE_TAP:
            if (tap_detect_init() != 0) {
                LOG_ERR("Failed to enable TAP mode");
            }
            break;
        case IMU_MODE_CRASH:
            if (crash_detect_init(crash_handler) != 0) {
                LOG_ERR("Failed to enable CRASH mode");
            }
            lsm6dsox_clear_interrupts();
            k_sem_reset(&crash_sem);
            motion_verify_init();
            break;
        case IMU_MODE_MOTION_VERIFY:
            if (motion_verify_init() != 0) {
                LOG_ERR("Failed to enable MOTION_VERIFY mode");
            }
            break;
        default:
            break;
    }

    current_mode = new_mode;
}

static int robot_gpio_init(void) {
    if (!gpio_is_ready_dt(&int1_gpio)) {
        return -ENODEV;
    }

    TRY_ERR(int, gpio_pin_configure_dt(&int1_gpio, GPIO_INPUT | int1_gpio.dt_flags));
    TRY_ERR(int, gpio_int_init_dt(&int1_handle, &int1_gpio, GPIO_INT_EDGE_RISING,
                                   default_gpio_callback, NULL));
    return 0;
}

int robot_init(void) {
    TRY_ERR(int, lsm6dsox_init());
    TRY_ERR(int, robot_gpio_init());
    TRY_ERR(int, lis3mdl_init());
    TRY_ERR(int, calibration_init(CALIBRATION_RESET));
    LOG_INF("Robot ready");
    return 0;
}

static float normalize_angle_diff(float angle) {
    while (angle > 180.0f) angle -= 360.0f;
    while (angle <= -180.0f) angle += 360.0f;
    return angle;
}

float robot_calculate_heading(void) {
    lis3mdl_data_t mag_data;
    double x_sum = 0.0, y_sum = 0.0;

    for (int i = 0; i < 100; i++) {
        TRY_ERR(int, lis3mdl_read_mag(&mag_data));
        double x_corr = ((double)mag_data.x - (double)g_mag_offset_x) * (double)g_mag_scale_x;
        double y_corr = ((double)mag_data.y - (double)g_mag_offset_y) * (double)g_mag_scale_y;
        x_sum += x_corr;
        y_sum += y_corr;
    }

    double x_avg = x_sum / 100.0;
    double y_avg = y_sum / 100.0;
    double heading = atan2(x_avg, y_avg) * 180.0 / M_PI;

    return (float)heading;
}

static void mb_drive_compensated(int16_t left_speed, int16_t right_speed) {
    // Apply scale factors from calibration
    int16_t compensated_left = (int16_t)(left_speed * g_motor_left_scale);
    int16_t compensated_right = (int16_t)(right_speed * g_motor_right_scale);
    
    mb_drive(compensated_left, compensated_right);
}
    
void robot_move(int32_t distance_mm) {
    robot_move_with_factor(distance_mm, 4);
}

//target_ticks = (int32_t)(abs_distance * g_ticks_per_mm);
void robot_move_with_factor(int32_t distance_mm, int32_t ramp_factor) {
    if (distance_mm == 0) return;
    if (!ramp_factor) ramp_factor = 4;
    
    bool forward = (distance_mm > 0);
    int32_t abs_distance = abs(distance_mm);
    
    // Calculate target ticks
    float circumference = M_PI * WHEEL_DIAMETER_MM;
    int32_t target_ticks = (int32_t)((abs_distance / circumference) * TICKS_PER_REV);

    // Setup crash detection
    lsm6dsox_enable_crash_and_motion();
    crash_detect_set_active(true, forward);
    motion_verify_start(forward);
    k_sem_reset(&crash_sem);
    k_sleep(K_MSEC(50));

    // Get starting positions
    int32_t start_left, start_right;
    mb_angle(&start_left, &start_right);

    const float KP = 0.1f;      // Low for gentler response
    const float KI = 0.0008f;     // Lower to prevent integral windup
    const float KD = 0.05f;      // Derivative causes jerk
    const int16_t MAX_CORRECTION = 40;
    
    const int32_t RAMP_UP_TICKS = target_ticks / ramp_factor;
    const int32_t RAMP_DOWN_TICKS = target_ticks / ramp_factor;
    const int16_t MIN_RAMP_SPEED = SPEED / 3;
    
    int16_t base_speed = SPEED;
    
    float integral = 0.0f;
    float last_error = 0.0f;
    
    uint32_t last_time = k_uptime_get_32();
    int32_t current_avg_ticks = 0;
    int loop_count = 0;

    while (true) {
        loop_count++;
        
        // Check for crash
        if (current_mode != IMU_MODE_MOTION_VERIFY) {
            if (k_sem_take(&crash_sem, K_NO_WAIT) == 0) {
                crash_detect_set_active(false, false);
                crash_recovery_routine();
                UNREACHABLE();
            }
        }

        uint32_t now = k_uptime_get_32();
        float dt = (now - last_time) / 1000.0f;
        if (dt < 0.001f) dt = 0.001f;
        if (dt > 0.1f) dt = 0.1f;
        last_time = now;

        int32_t curr_l, curr_r;
        mb_angle(&curr_l, &curr_r);
        int32_t delta_left = abs(curr_l - start_left);
        int32_t delta_right = abs(curr_r - start_right);
        
        current_avg_ticks = (delta_left + delta_right) / 2;
        int32_t remaining_ticks = target_ticks - current_avg_ticks;
        
        if (current_avg_ticks >= target_ticks) break;
        if (current_avg_ticks > target_ticks + 100) break;
        if (remaining_ticks <= 0) break;
        if (loop_count > 15000) break;
        
        int32_t encoder_diff = delta_left - delta_right;
        float error = (float)encoder_diff;
        
        int16_t current_base_speed;
        if (current_avg_ticks < RAMP_UP_TICKS) {
            float ramp_factor = (float)current_avg_ticks / (float)RAMP_UP_TICKS;
            current_base_speed = (int16_t)(MIN_RAMP_SPEED + 
                                  (base_speed - MIN_RAMP_SPEED) * ramp_factor);
        } else if (remaining_ticks < RAMP_DOWN_TICKS) {
            float ramp_factor = (float)remaining_ticks / (float)RAMP_DOWN_TICKS;
            current_base_speed = (int16_t)(MIN_RAMP_SPEED + 
                                  (base_speed - MIN_RAMP_SPEED) * ramp_factor);
            if (current_base_speed < MIN_SPEED) current_base_speed = MIN_SPEED;
        } else {
            current_base_speed = base_speed;
        }
        
        // Simple PID
        float p_term = KP * error;
        
        integral += error * dt;
        const float INTEGRAL_MAX = 300.0f;
        if (integral > INTEGRAL_MAX) integral = INTEGRAL_MAX;
        if (integral < -INTEGRAL_MAX) integral = -INTEGRAL_MAX;
        
        float d_term = KD * (error - last_error) / dt;
        last_error = error;
        
        // PID output
        float pid_output = p_term + (KI * integral) + d_term;
        int16_t correction = (int16_t)pid_output;
        
        if (correction > MAX_CORRECTION) correction = MAX_CORRECTION;
        if (correction < -MAX_CORRECTION) correction = -MAX_CORRECTION;
        
        int16_t left_cmd = current_base_speed - correction;
        int16_t right_cmd = current_base_speed + correction;
        
        if (!forward) {
            left_cmd = -left_cmd;
            right_cmd = -right_cmd;
        }
        
        float left_final = left_cmd * g_motor_left_scale;
        float right_final = right_cmd * g_motor_right_scale;
        
        int16_t left_final_cmd = (int16_t)left_final;
        int16_t right_final_cmd = (int16_t)right_final;
        
        const int16_t SPEED_LIMIT = 380;
        
        if (abs(left_final_cmd) > SPEED_LIMIT || abs(right_final_cmd) > SPEED_LIMIT) {
            float max_val = fmaxf(abs(left_final_cmd), abs(right_final_cmd));
            float scale = SPEED_LIMIT / max_val;
            
            left_final_cmd = (int16_t)(left_final_cmd * scale);
            right_final_cmd = (int16_t)(right_final_cmd * scale);
            
            integral *= 0.7f;
        }
        
        mb_drive(left_final_cmd, right_final_cmd);
        
        k_sleep(K_MSEC(10));
    }

    motion_verify_stop();
    crash_detect_set_active(false, false);
    
    int16_t brake_speed = base_speed / 2;
    if (forward) {
        mb_drive((int16_t)(-brake_speed * g_motor_left_scale), 
                 (int16_t)(-brake_speed * g_motor_right_scale));
    } else {
        mb_drive((int16_t)(brake_speed * g_motor_left_scale), 
                 (int16_t)(brake_speed * g_motor_right_scale));
    }
    k_sleep(K_MSEC(30));
    
    mb_drive(0, 0);
    k_sleep(K_MSEC(100));
}

void robot_turn(int32_t angle_deg) {
    if (angle_deg == 0) return;

    LOG_INF("Turning %d degrees %s", angle_deg, angle_deg > 0 ? "CW" : "CCW");

    mb_drive(0, 0);
    k_sleep(K_MSEC(300));

    const float KP = 4.5f;
    const float KI = 0.15f;
    const float KD = 2.5f;
    const int16_t MAX_SPEED = TURNSPEED;
    const float GYRO_TOLERANCE = 0.3f;
    const float GYRO_THRESHOLD = 0.12f;
    const float INTEGRAL_LIMIT = 15.0f;
    const float GYRO_FILTER_ALPHA = 0.85f;
    
    bool is_clockwise = (angle_deg > 0);
    
    float turn_scale = is_clockwise ? g_turn_cw_scale : g_turn_ccw_scale;
    float stop_ahead = is_clockwise ? g_cw_stop_ahead : g_ccw_stop_ahead;
    float brake_scale = is_clockwise ? g_cw_brake_scale : g_ccw_brake_scale;
    
    float target_angle = fabsf((float)angle_deg);
    float gyro_angle = 0.0f;
    float integral = 0.0f;
    float filtered_dps = 0.0f;

    float error = target_angle - gyro_angle;
    float last_error = error;
    int64_t last_time = k_uptime_get();

    int gyro_stable_count = 0;
    int loop_count = 0;    
    while (true) {
        loop_count++;
        lsm6dsox_gyro_data_t gyro;
        int64_t now = k_uptime_get();
        float dt = (now > last_time) ? ((now - last_time) / 1000.0f) : 0.001f;
        last_time = now;
        
        if (lsm6dsox_read_gyro(&gyro) == 0) {
            float raw_dps = lsm6dsox_gyro_to_dps(gyro.z);
            filtered_dps = GYRO_FILTER_ALPHA * raw_dps + 
                                        (1.0f - GYRO_FILTER_ALPHA) * filtered_dps;
            
            if (fabsf(filtered_dps) > GYRO_THRESHOLD) {
                gyro_angle += filtered_dps * dt;
            }
        }
        
        float abs_gyro_angle = fabsf(gyro_angle);
        error = target_angle - abs_gyro_angle;
        
        if (error <= stop_ahead && fabsf(filtered_dps) < 5.0f) {
            LOG_INF("Pre-emptive stop at %.2f degrees (stop_ahead=%.2f)", 
                   (double)gyro_angle, (double)stop_ahead);
            break;
        }
        
        if (fabsf(error) > 1.0f) {
            integral += error * dt * 0.05f;
            if (integral > INTEGRAL_LIMIT) integral = INTEGRAL_LIMIT;
            if (integral < -INTEGRAL_LIMIT) integral = -INTEGRAL_LIMIT;
        } else {
            integral *= 0.9f;
        }
        
        float derivative = (dt > 0.0f) ? ((error - last_error) / dt) : 0.0f;
        last_error = error;
        
        // Check stability
        if (fabsf(error) <= GYRO_TOLERANCE && fabsf(filtered_dps) < GYRO_THRESHOLD) {
            gyro_stable_count++;
            if (gyro_stable_count >= 8) {
                LOG_INF("Turn complete: %.2f degrees (error: %.2f)", 
                       (double)gyro_angle, (double)error);
                break;
            }
        } else {
            gyro_stable_count = 0;
        }
        
        if (abs_gyro_angle > (target_angle + 0.5f)) {
            LOG_WRN("Overshoot detected: %.2f degrees", (double)-error);
            break;
        }
        
        if (loop_count > 3000) {
            LOG_WRN("Turn timeout");
            break;
        }
        
        // PID control (signed control only cares about magnitude since drive uses sign separately)
        float control = (KP * error) + (KI * integral) + (KD * derivative);
        
        if (fabsf(filtered_dps) > 30.0f && error < 10.0f) {
            control *= 0.7f;
        }
        
        int16_t speed = (int16_t)fabsf(control);
        if (speed > MAX_SPEED) speed = MAX_SPEED;

        if (fabsf(error) <= 1.0f) {
            speed = MIN_SPEED;
        } else if (fabsf(error) < 8.0f) {
            float frac = (fabsf(error) - 1.0f) / 7.0f;
            speed = MIN_SPEED + (int16_t)((MAX_SPEED * 0.5f - MIN_SPEED) * frac);
        } else {
            speed = (int16_t)(MAX_SPEED * 0.7f);
        }
        
        speed = (int16_t)(speed * turn_scale);
        
        if (is_clockwise) {
            mb_drive_compensated(-speed, speed);
        } else {
            mb_drive_compensated(speed, -speed);
        }
        
        k_sleep(K_MSEC(5));
    }
    
    mb_drive(0, 0);
    k_sleep(K_MSEC(30));
    
    int16_t brake_speed;
    if (fabsf(filtered_dps) > 20.0f) {
        brake_speed = (int16_t)(MAX_SPEED / 2 * brake_scale);
    } else if (fabsf(filtered_dps) > 10.0f) {
        brake_speed = (int16_t)(MAX_SPEED / 3 * brake_scale);
    } else {
        brake_speed = (int16_t)(MAX_SPEED / 4 * brake_scale);
    }
    
    if (is_clockwise) {
        mb_drive_compensated(brake_speed, -brake_speed);
    } else {
        mb_drive_compensated(-brake_speed, brake_speed);
    }
    k_sleep(K_MSEC(25));
    
    mb_drive(0, 0);
    k_sleep(K_MSEC(300));
}

void robot_turn_to_north(void) {
    LOG_INF("Turning to North");
    uint32_t start_time = k_uptime_get_32();
    
    const float tolerance = 8.0f; // Increased tolerance for noisy sensor
    int consecutive_good = 0;
    const int required_good = 3;
    
    float last_error = 0.0f;
    int oscillation_count = 0;
    
    mb_drive(0, 0);
    k_sleep(K_MSEC(300)); // Longer settling time
    float initial_heading = robot_calculate_heading();
    float target_heading = ROBOT_HEADING_NORTH;
    
    LOG_INF("Initial heading: %.2f, Target: %.2f", (double)initial_heading, (double)target_heading);

    float initial_error = normalize_angle_diff(target_heading - initial_heading);
    bool turn_clockwise = (initial_error < 0); // negative error means turn counter-clockwise (left)
    
    LOG_INF("Initial error: %.2f, will turn %s", (double)initial_error, 
            turn_clockwise ? "clockwise" : "counter-clockwise");

    while (true) {
        if ((k_uptime_get_32() - start_time) > TURN_TIMEOUT_MS) {
            LOG_ERR("Timeout reached");
            mb_drive(0, 0);
            break;
        }

        // Read heading with motors OFF
        mb_drive(0, 0);
        k_sleep(K_MSEC(300));
        
        float current_heading = robot_calculate_heading();
        float error = normalize_angle_diff(target_heading - current_heading);
        float abs_error = fabsf(error);

        LOG_INF("Heading: %.2f, Error: %.2f", (double)current_heading, (double)error);

        if (abs_error <= tolerance) {
            consecutive_good++;
            LOG_INF("Good reading %d/%d (error: %.2f)", consecutive_good, required_good, (double)abs_error);
            
            if (consecutive_good >= required_good) {
                LOG_INF("Aligned to North (heading: %.2f)", (double)current_heading);
                mb_drive(0, 0);
                break;
            }
            continue;
        } else {
            consecutive_good = 0;
        }

        if (last_error != 0.0f && 
            ((last_error > 0 && error < 0) || (last_error < 0 && error > 0)) &&
            abs_error > tolerance) {
            oscillation_count++;
            LOG_WRN("Oscillation detected (%d), error %.2f -> %.2f", 
                    oscillation_count, (double)last_error, (double)error);
        } else {
            oscillation_count = 0;
        }
        last_error = error;

        if (oscillation_count >= 2) {
            LOG_INF("High oscillation detected, waiting for better reading...");
            k_sleep(K_MSEC(200));
            current_heading = robot_calculate_heading();
            error = normalize_angle_diff(target_heading - current_heading);
            abs_error = fabsf(error);
            LOG_INF("After wait - Heading: %.2f, Error: %.2f", 
                    (double)current_heading, (double)error);
            oscillation_count = 0;
        }

        int16_t turn_speed;
        int32_t turn_duration_ms;
        
        float speed_multiplier = (oscillation_count > 0) ? 0.7f : 1.0f;
        
        if (abs_error > 90.0f) {
            turn_speed = TURNSPEED * speed_multiplier;
            turn_duration_ms = 300;
        } else if (abs_error > 45.0f) {
            turn_speed = TURNSPEED * speed_multiplier;
            turn_duration_ms = 200;
        } else if (abs_error > 20.0f) {
            turn_speed = TURNSPEED * 0.8f * speed_multiplier;
            turn_duration_ms = 120;
        } else if (abs_error > 12.0f) {
            turn_speed = TURNSPEED * 0.6f * speed_multiplier;
            turn_duration_ms = 80;
        } else {
            turn_speed = MIN_SPEED;
            turn_duration_ms = 40;
        }

        bool current_turn_clockwise = (error < 0);
        
        if (current_turn_clockwise) {
            mb_drive(turn_speed, -turn_speed);
        } else {
            mb_drive(-turn_speed, turn_speed);
        }
        
        LOG_INF("Turning %s at speed %d for %d ms", 
                current_turn_clockwise ? "CW" : "CCW", turn_speed, turn_duration_ms);
        
        k_sleep(K_MSEC(turn_duration_ms));
        
        mb_drive(0, 0);
        k_sleep(K_MSEC(50));
        
        int16_t brake_speed = turn_speed / 3;
        if (current_turn_clockwise) {
            mb_drive(-brake_speed, brake_speed);
        } else {
            mb_drive(brake_speed, -brake_speed);
        }
        k_sleep(K_MSEC(30));
        mb_drive(0, 0);
    }

    mb_drive(0, 0);
    k_sleep(K_MSEC(300));
}

void robot_set_status(robot_status_t status) {
    mb_leds_off();

    if (current_robot_status == STATUS_CRASH) {
        mb_led_toggle(MB_LED_R);
        return;
    }

    switch (status) {
        case STATUS_OK:
            mb_led_toggle(MB_LED_G);
            break;
        case STATUS_FAST:
            mb_led_toggle(MB_LED_B);
            break;
        case STATUS_SLOW:
            mb_led_toggle(MB_LED_R);
            mb_led_toggle(MB_LED_G);
            break;
        case STATUS_CRASH:
            mb_led_toggle(MB_LED_R);
            break;
    }
    current_robot_status = status;
}
```
